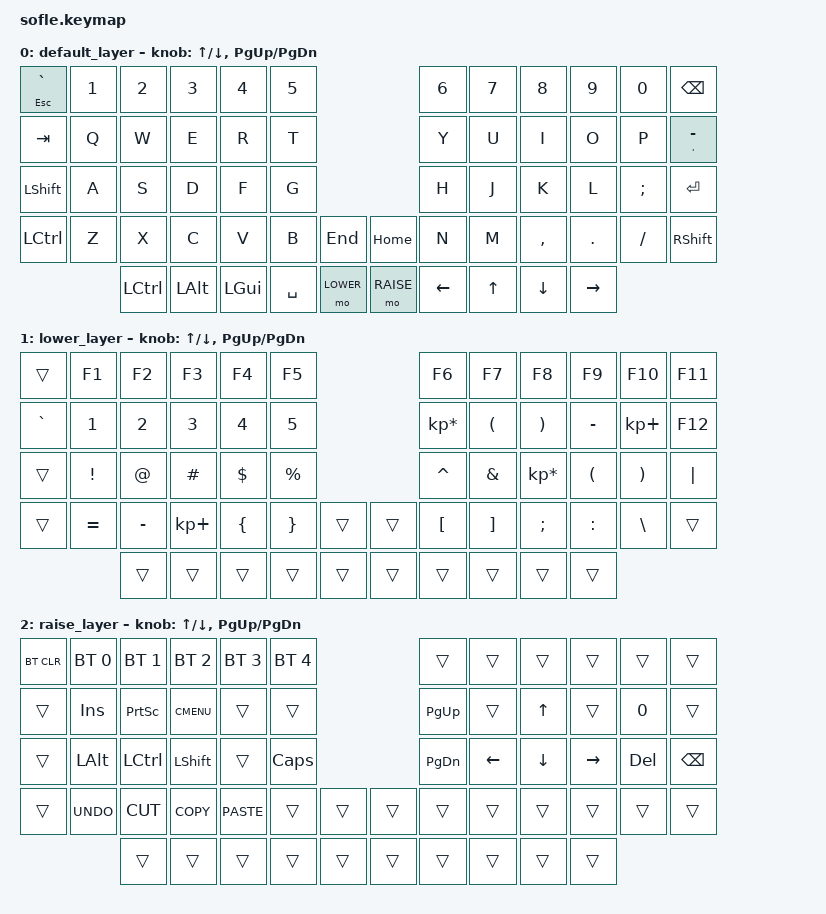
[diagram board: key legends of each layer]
/*
 * Copyright (c) 2020 The ZMK Contributors
 *
 * SPDX-License-Identifier: MIT
 */

#include <behaviors.dtsi>
#include <dt-bindings/zmk/keys.h>
#include <dt-bindings/zmk/bt.h>
#include <dt-bindings/zmk/ext_power.h>

#define BASE 0
#define LOWER 1
#define RAISE 2

/ {
    macros {
        shift_ins: shift_ins {
            label = "ZM_shift_ins";
            compatible = "zmk,behavior-macro";
            #binding-cells = <0>;
            bindings
                = <&macro_press &kp LSHFT>
                , <&macro_tap &kp INS>
                , <&macro_release &kp LSHFT>
                ;
        };

        ctrl_z: ctrl_z {
            label = "ZM_ctrl_z";
            compatible = "zmk,behavior-macro";
            #binding-cells = <0>;
            bindings
                = <&macro_press &kp LCTRL>
                , <&macro_tap &kp Z>
                , <&macro_release &kp LCTRL>
                ;
        };

        ctrl_y: ctrl_y {
            label = "ZM_ctrl_y";
            compatible = "zmk,behavior-macro";
            #binding-cells = <0>;
            bindings
                = <&macro_press &kp LCTRL>
                , <&macro_tap &kp Y>
                , <&macro_release &kp LCTRL>
                ;
        };

        ctrl_x: ctrl_x {
            label = "ZM_ctrl_x";
            compatible = "zmk,behavior-macro";
            #binding-cells = <0>;
            bindings
                = <&macro_press &kp LCTRL>
                , <&macro_tap &kp X>
                , <&macro_release &kp LCTRL>
                ;
        };

        ctrl_c: ctrl_c {
            label = "ZM_ctrl_c";
            compatible = "zmk,behavior-macro";
            #binding-cells = <0>;
            bindings
                = <&macro_press &kp LCTRL>
                , <&macro_tap &kp C>
                , <&macro_release &kp LCTRL>
                ;
        };

        ctrl_v: ctrl_v {
            label = "ZM_ctrl_v";
            compatible = "zmk,behavior-macro";
            #binding-cells = <0>;
            bindings
                = <&macro_press &kp LCTRL>
                , <&macro_tap &kp V>
                , <&macro_release &kp LCTRL>
                ;
        };


        ctrl_back: ctrl_back {
            label = "ZM_ctrl_back";
            compatible = "zmk,behavior-macro";
            #binding-cells = <0>;
            bindings
                = <&macro_press &kp LCTRL> 
                , <&macro_tap &kp MINUS>
                , <&macro_release &kp LCTRL>
                ;
        };

        ctrl_sh_back: ctrl_sh_back {
            label = "ZM_ctrl_sh_back";
            compatible = "zmk,behavior-macro";
            #binding-cells = <0>;
            bindings
                = <&macro_press &kp LCTRL &kp LSHIFT>
                , <&macro_tap &kp MINUS>
                , <&macro_release &kp LCTRL &kp LSHIFT>
                ;
        };

        ctrl_tab: ctrl_tab {
            label = "ZM_ctrl_tab";
            compatible = "zmk,behavior-macro";
            #binding-cells = <0>;
            bindings
                = <&macro_press &kp LCTRL> 
                , <&macro_tap &kp TAB>
                , <&macro_release &kp LCTRL>
                ;
        };

        ctrl_sh_tab: ctrl_sh_tab {
            label = "ZM_ctrl_sh_tab";
            compatible = "zmk,behavior-macro";
            #binding-cells = <0>;
            bindings
                = <&macro_press &kp LCTRL &kp LSHIFT>
                , <&macro_tap &kp TAB>
                , <&macro_release &kp LCTRL &kp LSHIFT>
                ;
        };

        alt_ctrl_del: alt_ctrl_del {
            label = "ZM_alt_ctrl_del";
            compatible = "zmk,behavior-macro";
            #binding-cells = <0>;
            bindings
                = <&macro_press &kp LCTRL &kp LALT>
                , <&macro_tap &kp DEL>
                , <&macro_release &kp LCTRL &kp LALT>
                ;
        };

        alt_f4: alt_f4 {
            label = "ZM_alt_f4";
            compatible = "zmk,behavior-macro";
            #binding-cells = <0>;
            bindings
                = <&macro_press &kp LALT>
                , <&macro_tap &kp F4>
                , <&macro_release &kp LALT>
                ;
        };

        alt_left: alt_left {
            label = "ZM_alt_left";
            compatible = "zmk,behavior-macro";
            #binding-cells = <0>;
            bindings
                = <&macro_press &kp LALT>
                , <&macro_tap &kp LEFT>
                , <&macro_release &kp LALT>
                ;
        };

        alt_right: alt_right {
            label = "ZM_alt_right";
            compatible = "zmk,behavior-macro";
            #binding-cells = <0>;
            bindings
                = <&macro_press &kp LALT>
                , <&macro_tap &kp RIGHT>
                , <&macro_release &kp LALT>
                ;
        };

        

        alt_enter: alt_enter {
            label = "ZM_alt_enter";
            compatible = "zmk,behavior-macro";
            #binding-cells = <0>;
            bindings
                = <&macro_press &kp LALT>
                , <&macro_tap &kp ENTER>
                , <&macro_release &kp LALT>
                ;
        };

        alt_tab: alt_tab {
            label = "ZM_alt_tab";
            compatible = "zmk,behavior-macro";
            #binding-cells = <0>;
            bindings
                = <&macro_press &kp LALT>
                , <&macro_tap &kp TAB>
                , <&macro_release &kp LALT>
                ;
        };

        alt_cap: alt_cap {
            label = "ZM_alt_cap";
            compatible = "zmk,behavior-macro";
            #binding-cells = <0>;
            bindings
                = <&macro_press &kp LALT>
                , <&macro_tap &kp PSCRN>
                , <&macro_release &kp LALT>
                ;
        };

        c_v_hom_del: c_v_hom_del {
            label = "ZM_c_v_hom_del";
            compatible = "zmk,behavior-macro";
            #binding-cells = <0>;
            bindings
                = <&macro_press &kp LCTRL>
                , <&macro_tap &kp V>
                , <&macro_release &kp LCTRL>
                , <&macro_tap &kp HOME &kp RIGHT &kp BSPC>
                ;
        };

        c_v_hom_bs: c_v_hom_bs {
            label = "ZM_c_v_hom_bs";
            compatible = "zmk,behavior-macro";
            #binding-cells = <0>;
            bindings
                = <&macro_press &kp LCTRL>
                , <&macro_tap &kp V>
                , <&macro_release &kp LCTRL>
                , <&macro_tap &kp HOME &kp RIGHT &kp RIGHT &kp RIGHT>
                , <&macro_press &kp LSHFT>
                , <&macro_tap &kp END>
                , <&macro_release &kp LSHFT>
                , <&macro_tap &kp BSPC>
                ;
        };
       
    };

};

    

/ {
    behaviors {
        hm: homerow_mods {
            compatible = "zmk,behavior-hold-tap";
            label = "HOMEROW_MODS";
            #binding-cells = <2>;
            tapping-term-ms = <200>;
            quick-tap-ms = <0>;
            flavor = "tap-preferred";
            bindings = <&kp>, <&kp>;
        };
        se: shift_enter {
            compatible = "zmk,behavior-hold-tap";
            label = "SHIFT_ENTER";
            #binding-cells = <2>;
            tapping-term-ms = <80>;
            quick-tap-ms = <0>;
            flavor = "tap-preferred";
            bindings = <&kp>, <&kp>;
        };
        al: alt_layer {
            compatible = "zmk,behavior-hold-tap";
            label = "ALT_LAYER";
            #binding-cells = <2>;
            tapping-term-ms = <200>;
            quick-tap-ms = <0>;
            flavor = "tap-preferred";
            bindings = <&mo>, <&kp>;
        };
        
    };
};


/ {

    keymap {
        compatible = "zmk,keymap";

        default_layer {
// ------------------------------------------------------------------------------------------------------------
// | ESC/` |  1  |  2  |  3   |  4   |  5   |                   |  6   |  7    |  8    |  9   |   0   |       |
// |  TAB  |  Q  |  W  |  E   |  R   |  T   |                   |  Y   |  U    |  I    |  O   |   P   | BKSPC |
// | SHIFT |  A  |  S  |  D   |  F   |  G   |                   |  H   |  J    |  K    |  L   |   ;   |   '   |
// |  CTRL |  Z  |  X  |  C   |  V   |  B   |  MUTE  |  |       |  N   |  M    |  ,    |  .   |   /   | SHIFT |
//               | GUI | ALT  | CTRL | LOWER|  ENTER |  | SPACE | RAISE| CTRL  | ALT   | GUI  |
            bindings = <
&hm ESC GRAVE &kp N1 &kp N2    &kp N3   &kp N4    &kp N5                         &kp N6    &kp N7    &kp N8    &kp N9   &kp N0   &kp BSPC
&kp TAB       &kp Q  &kp W     &kp E    &kp R     &kp T                          &kp Y     &kp U     &kp I     &kp O    &kp P    &hm SQT MINUS 
&kp LSHIFT    &kp A  &kp S     &kp D    &kp F     &kp G                          &kp H     &kp J     &kp K     &kp L    &kp SEMI &kp RET
&kp LCTRL     &kp Z  &kp X     &kp C    &kp V     &kp B     &kp END   &kp HOME   &kp N     &kp M     &kp COMMA &kp DOT  &kp FSLH &kp RSHFT
                     &kp LCTRL &kp LALT &kp LGUI  &kp SPACE &mo LOWER &mo RAISE  &kp LEFT  &kp UP    &kp DOWN  &kp RIGHT
            >;

            sensor-bindings = <&inc_dec_kp UP DOWN &inc_dec_kp PG_UP PG_DN>;
        };

        lower_layer {
// TODO: Some binds are waiting for shifted keycode support.
// ------------------------------------------------------------------------------------------------------------
// |       |  F1 |  F2 |  F3  |  F4  |  F5  |                   |  F6  |  F7   |  F8   |  F9  |  F10  |  F11  |
// | `     |   1 |   2 |   3  |   4  |   5  |                   |   6  |   7   |   8   |   9  |    0  |  F12  |
// |       |  !  |  @  |  #   |  $   |  %   |                   |  ^   |  &    |  *    |  (   |   )   |   |   |
// |       |  =  |  -  |  +   |  {   |  }   |        |  |       |  [   |  ]    |  ;    |  :   |   \   |       |
//               |     |      |      |      |        |  |       |      |       |       |      |
            bindings = <
&trans    &kp F1    &kp F2    &kp F3      &kp F4    &kp F5                    &kp F6          &kp F7   &kp F8          &kp F9    &kp F10     &kp F11
&kp GRAVE &kp N1    &kp N2    &kp N3      &kp N4    &kp N5                    &kp KP_MULTIPLY &kp LPAR &kp RPAR        &kp MINUS &kp KP_PLUS &kp F12
&trans    &kp EXCL  &kp AT    &kp HASH    &kp DLLR  &kp PRCNT                 &kp CARET       &kp AMPS &kp KP_MULTIPLY &kp LPAR  &kp RPAR    &kp PIPE
&trans    &kp EQUAL &kp MINUS &kp KP_PLUS &kp LBRC  &kp RBRC  &trans   &trans &kp LBKT        &kp RBKT &kp SEMI        &kp COLON &kp BSLH    &trans
                    &trans    &trans      &trans    &trans    &trans   &trans &trans          &trans   &trans          &trans
            >;

            sensor-bindings = <&inc_dec_kp UP DOWN &inc_dec_kp PG_UP PG_DN>;
        };

        raise_layer {
// ------------------------------------------------------------------------------------------------------------
// |BTCLR| BT1  | BT2  |  BT3  |  BT4  |  BT5 |                |      |      |       |      |       |       |
// |     | INS  | PSCR | GUI   |       |      |                | PGUP |      |   ^   |      |       |       |
// |     | ALT  | CTRL | SHIFT |       | CAPS |                | PGDN |   <- |   v   |  ->  |  DEL  | BKSPC |
// |     | UNDO | CUT  | COPY  | PASTE |      |      |  |      |      |      |       |      |       |       |
//              |      |       |       |      |      |  |      |      |      |       |      |
            bindings = <
&bt BT_CLR &bt BT_SEL 0 &bt BT_SEL 1 &bt BT_SEL 2 &bt BT_SEL 3 &bt BT_SEL 4             &trans    &trans    &trans   &trans    &trans  &trans
&trans     &kp INS      &kp PSCRN    &kp K_CMENU  &trans       &trans                   &kp PG_UP &trans    &kp UP   &trans    &kp N0  &trans
&trans     &kp LALT     &kp LCTRL    &kp LSHFT    &trans       &kp CLCK                 &kp PG_DN &kp LEFT  &kp DOWN &kp RIGHT &kp DEL &kp BSPC
&trans     &kp K_UNDO   &kp K_CUT    &kp K_COPY   &kp K_PASTE  &trans  &trans   &trans  &trans    &trans    &trans   &trans    &trans  &trans
                        &trans       &trans       &trans       &trans  &trans   &trans  &trans    &trans    &trans   &trans
            >;

            sensor-bindings = <&inc_dec_kp UP DOWN &inc_dec_kp PG_UP PG_DN>;
        };

    };
};
